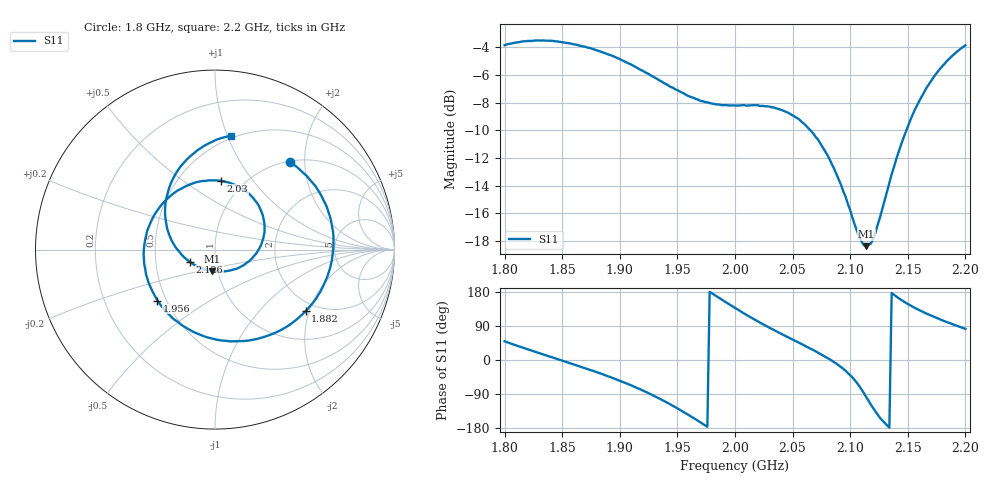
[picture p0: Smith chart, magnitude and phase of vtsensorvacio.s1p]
!1-port S-parameter file
# HZ S RI R 50
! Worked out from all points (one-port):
!   201 points, 1.8 GHz to 2.2 GHz, reference 50 ohm
!   lowest |S11| = -18.4 dB at 2.114 GHz (marker M1), VSWR 1.27, Z = 46.9 - j11.4 ohm
!   |S11| at or under -10 dB: 2.065 GHz to 2.149 GHz (83.44 MHz wide, 3.96 % of centre)
!   S11 on the Smith chart (normalised r, x): 1.8 GHz: 1.03, +1.69; 1.882 GHz: 1.73, -1.89; 1.956 GHz: 0.45, -0.31; 2.03 GHz: 0.79, +0.71; 2.126 GHz: 0.75, -0.11; 2.2 GHz: 0.48, +1.03
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1.8e9  0.4177 0.4857
1.826e9  0.6166 0.2522
1.85e9  0.6565 -0.0184
1.866e9  0.6079 -0.192
1.882e9  0.5042 -0.3436
1.9e9  0.3307 -0.4655
1.912e9  0.1853 -0.5068
1.926e9  0.00811 -0.5018
1.95e9  -0.2694 -0.3496
1.956e9  -0.3206 -0.2841
1.968e9  -0.385 -0.1346
1.978e9  -0.3964 0.00109
2e9  -0.2868 0.2622
2.014e9  -0.1456 0.3607
2.03e9  0.0329 0.3834
2.05e9  0.211 0.2891
2.062e9  0.2666 0.1897
2.074e9  0.2725 0.0798
2.086e9  0.2287 -0.0233
2.1e9  0.1242 -0.1053
2.114e9  -0.0175 -0.1195
2.118e9  -0.0583 -0.1088
2.126e9  -0.1376 -0.0692
2.14e9  -0.2431 0.0536
2.15e9  -0.2763 0.1736
2.172e9  -0.2064 0.4426
2.186e9  -0.0756 0.5677
2.2e9  0.0867 0.6342
